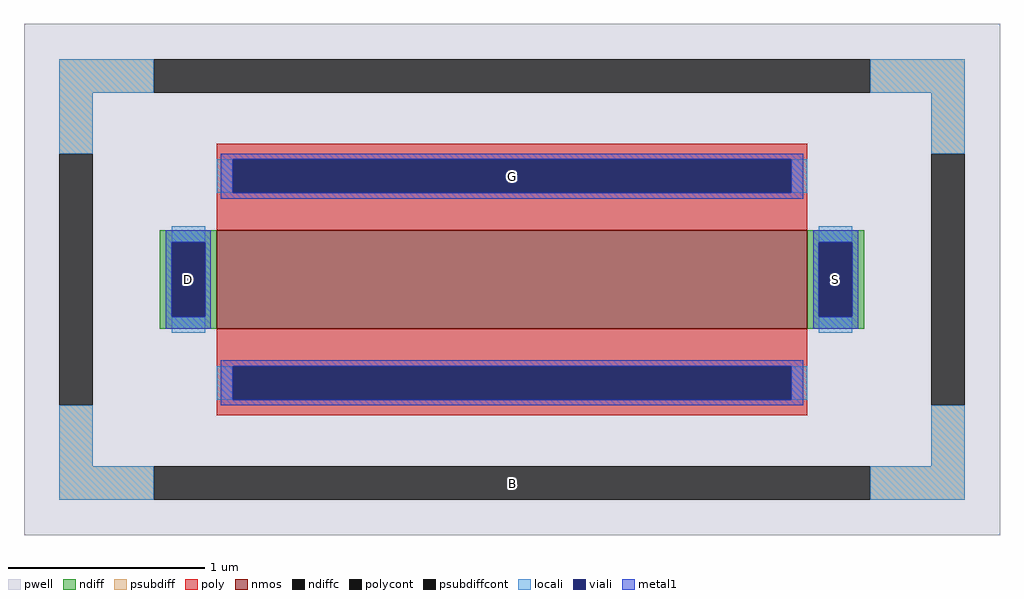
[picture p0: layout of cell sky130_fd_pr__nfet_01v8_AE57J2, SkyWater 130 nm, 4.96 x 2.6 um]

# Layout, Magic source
magic
tech sky130A
magscale 1 2
<< pwell >>
rect -496 -260 496 260
<< nmos >>
rect -300 -50 300 50
<< ndiff >>
rect -358 38 -300 50
rect -358 -38 -346 38
rect -312 -38 -300 38
rect -358 -50 -300 -38
rect 300 38 358 50
rect 300 -38 312 38
rect 346 -38 358 38
rect 300 -50 358 -38
<< ndiffc >>
rect -346 -38 -312 38
rect 312 -38 346 38
<< psubdiff >>
rect -460 190 -364 224
rect 364 190 460 224
rect -460 128 -426 190
rect 426 128 460 190
rect -460 -190 -426 -128
rect 426 -190 460 -128
rect -460 -224 -364 -190
rect 364 -224 460 -190
<< psubdiffcont >>
rect -364 190 364 224
rect -460 -128 -426 128
rect 426 -128 460 128
rect -364 -224 364 -190
<< poly >>
rect -300 122 300 138
rect -300 88 -284 122
rect 284 88 300 122
rect -300 50 300 88
rect -300 -88 300 -50
rect -300 -122 -284 -88
rect 284 -122 300 -88
rect -300 -138 300 -122
<< polycont >>
rect -284 88 284 122
rect -284 -122 284 -88
<< locali >>
rect -460 190 -364 224
rect 364 190 460 224
rect -460 128 -426 190
rect 426 128 460 190
rect -300 88 -284 122
rect 284 88 300 122
rect -346 38 -312 54
rect -346 -54 -312 -38
rect 312 38 346 54
rect 312 -54 346 -38
rect -300 -122 -284 -88
rect 284 -122 300 -88
rect -460 -190 -426 -128
rect 426 -190 460 -128
rect -460 -224 -364 -190
rect 364 -224 460 -190
<< viali >>
rect -284 88 284 122
rect -346 -38 -312 38
rect 312 -38 346 38
rect -284 -122 284 -88
<< metal1 >>
rect -296 122 296 128
rect -296 88 -284 122
rect 284 88 296 122
rect -296 82 296 88
rect -352 38 -306 50
rect -352 -38 -346 38
rect -312 -38 -306 38
rect -352 -50 -306 -38
rect 306 38 352 50
rect 306 -38 312 38
rect 346 -38 352 38
rect 306 -50 352 -38
rect -296 -88 296 -82
rect -296 -122 -284 -88
rect 284 -122 296 -88
rect -296 -128 296 -122
<< labels >>
rlabel psubdiffcont 0 -207 0 -207 0 B
port 1 nsew
rlabel ndiffc -329 0 -329 0 0 D
port 2 nsew
rlabel ndiffc 329 0 329 0 0 S
port 3 nsew
rlabel polycont 0 105 0 105 0 G
port 4 nsew
<< properties >>
string FIXED_BBOX -443 -207 443 207
string gencell sky130_fd_pr__nfet_01v8
string library sky130
string parameters w 0.5 l 3.0 m 1 nf 1 diffcov 100 polycov 100 guard 1 glc 1 grc 1 gtc 1 gbc 1 tbcov 100 rlcov 100 topc 1 botc 1 poverlap 0 doverlap 1 lmin 0.15 wmin 0.42 class mosfet compatible {sky130_fd_pr__nfet_01v8 sky130_fd_pr__nfet_01v8_lvt  sky130_fd_bs_flash__special_sonosfet_star  sky130_fd_pr__nfet_g5v0d10v5 sky130_fd_pr__nfet_05v0_nvt  sky130_fd_pr__nfet_03v3_nvt} full_metal 1 conn_gates 0 viasrc 100 viadrn 100 viagate 100 viagb 0 viagr 0 viagl 0 viagt 0 doports 1
<< end >>
